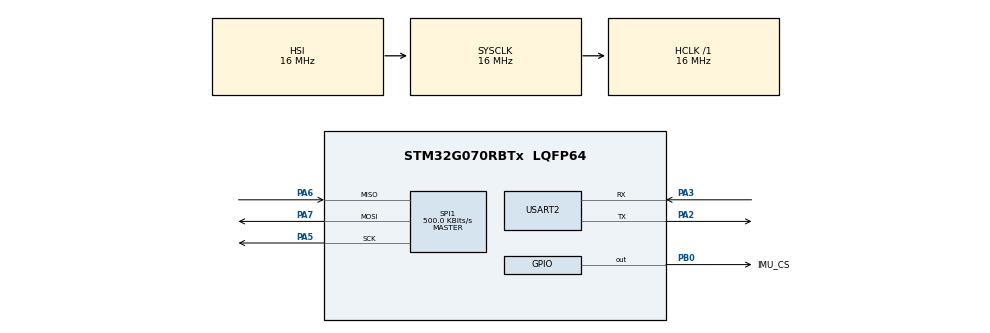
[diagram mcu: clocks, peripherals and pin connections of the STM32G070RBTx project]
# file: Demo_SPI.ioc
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Mcu.Family=STM32G0
Mcu.Name=STM32G070RBTx
Mcu.Package=LQFP64
PA13.GPIO_Label=TMS
PA13.Mode=Serial_Wire
PA13.Signal=SYS_SWDIO
PA14-BOOT0.GPIO_Label=TCK
PA14-BOOT0.Mode=Serial_Wire
PA14-BOOT0.Signal=SYS_SWCLK
PA2.GPIO_PuPd=GPIO_PULLUP
PA2.Mode=Asynchronous
PA2.Signal=USART2_TX
PA3.GPIO_PuPd=GPIO_PULLUP
PA3.Mode=Asynchronous
PA3.Signal=USART2_RX
PA5.Mode=Full_Duplex_Master
PA5.Signal=SPI1_SCK
PA6.Mode=Full_Duplex_Master
PA6.Signal=SPI1_MISO
PA7.Mode=Full_Duplex_Master
PA7.Signal=SPI1_MOSI
PB0.GPIO_Label=IMU_CS
PB0.PinState=GPIO_PIN_SET
PB0.Signal=GPIO_Output
PC13.Mode=SYS_WakeUp1
PC13.Signal=SYS_WKUP2
PC14-OSC32_IN\ (PC14).Signal=RCC_OSC32_IN
PC15-OSC32_OUT\ (PC15).Signal=RCC_OSC32_OUT
PF0-OSC_IN\ (PF0).GPIO_Label=MCO
PF0-OSC_IN\ (PF0).Signal=RCC_OSC_IN
ProjectManager.HeapSize=0x200
ProjectManager.StackSize=0x400
ProjectManager.TargetToolchain=CMake
RCC.AHBFreq_Value=16000000
RCC.CortexFreq_Value=16000000
RCC.EXTERNAL_CLOCK_VALUE=12288000
RCC.HCLKFreq_Value=16000000
RCC.HSE_VALUE=8000000
RCC.HSI_VALUE=16000000
RCC.SYSCLKFreq_VALUE=16000000
RCC.VCOOutputFreq_Value=128000000
SPI1.BaudRatePrescaler=SPI_BAUDRATEPRESCALER_32
SPI1.CalculateBaudRate=500.0 KBits/s
SPI1.DataSize=SPI_DATASIZE_8BIT
SPI1.Direction=SPI_DIRECTION_2LINES
SPI1.Mode=SPI_MODE_MASTER
SPI1.NSSPMode=SPI_NSS_PULSE_DISABLE
SPI1.VirtualType=VM_MASTER
USART2.VirtualMode-Asynchronous=VM_ASYNC
USART2.WordLength=WORDLENGTH_7B
board=NUCLEO-G070RB

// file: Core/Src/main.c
/* USER CODE BEGIN Header */
/**
  ******************************************************************************
  * @file           : main.c
  * @brief          : Main program body
  ******************************************************************************
  * @attention
  *
  * Copyright (c) 2026 STMicroelectronics.
  * All rights reserved.
  *
  * This software is licensed under terms that can be found in the LICENSE file
  * in the root directory of this software component.
  * If no LICENSE file comes with this software, it is provided AS-IS.
  *
  ******************************************************************************
  */
/* USER CODE END Header */
#include "main.h"

/* USER CODE BEGIN Includes */
#include <stdint.h>
/* USER CODE END Includes */

SPI_HandleTypeDef hspi1;

UART_HandleTypeDef huart2;

/* USER CODE BEGIN PV */

/* 最近一次成功传输得到的身份值 */
volatile uint8_t who_am_i = 0;

/* 最近一次 HAL 返回状态 */
volatile HAL_StatusTypeDef spi_status = HAL_OK;

/* 最近一次 SPI 错误码 */
volatile uint32_t spi_error_code = 0;

/* 各类结果计数 */
volatile uint32_t spi_ok_count = 0;
volatile uint32_t id_bad_count = 0;
volatile uint32_t spi_error_count = 0;

/*
 * 测试阶段：
 * 0：尚未开始
 * 1：准备选择 Bank 0
 * 2：选择 Bank 0 的发送操作完成，进入身份测试
 * 3：至少成功读到一次 0x3B
 * 4：最近一次读到的身份值不正确
 * 5：最近一次 HAL 操作失败
 */
volatile uint8_t test_stage = 0;

/* USER CODE END PV */

void SystemClock_Config(void);
static void MX_GPIO_Init(void);
static void MX_SPI1_Init(void);
static void MX_USART2_UART_Init(void);

/* USER CODE BEGIN 0 */

/* 选择 Bank 0：向 REG_BANK_SEL（0x76）写入 0x00 */
static HAL_StatusTypeDef ICM_SelectBank0(void)
{
    uint8_t tx[2] = {0x76, 0x00};

    HAL_GPIO_WritePin(IMU_CS_GPIO_Port,
                      IMU_CS_Pin,
                      GPIO_PIN_RESET);

    HAL_StatusTypeDef result =
        HAL_SPI_Transmit(&hspi1, tx, 2, 100);

    /* 无论成功或失败，都释放 CS */
    HAL_GPIO_WritePin(IMU_CS_GPIO_Port,
                      IMU_CS_Pin,
                      GPIO_PIN_SET);

    return result;
}

/* 读取 Bank 0 的 WHO_AM_I（0x75） */
static HAL_StatusTypeDef ICM_ReadWhoAmI(uint8_t *id)
{
    /*
     * 0xF5 = 0x75 | 0x80，表示读取地址 0x75
     * 0x00 是占位字节，用于产生后续 8 个时钟
     */
    uint8_t tx[2] = {0xF5, 0x00};
    uint8_t rx[2] = {0x00, 0x00};

    HAL_GPIO_WritePin(IMU_CS_GPIO_Port,
                      IMU_CS_Pin,
                      GPIO_PIN_RESET);

    HAL_StatusTypeDef result =
        HAL_SPI_TransmitReceive(&hspi1, tx, rx, 2, 100);

    HAL_GPIO_WritePin(IMU_CS_GPIO_Port,
                      IMU_CS_Pin,
                      GPIO_PIN_SET);

    if (result == HAL_OK)
    {
        /* rx[0] 丢弃，rx[1] 才是身份值 */
        *id = rx[1];
    }

    return result;
}

/* USER CODE END 0 */

int main(void)
{

  /* MCU Configuration--------------------------------------------------------*/

  /* Reset of all peripherals, Initializes the Flash interface and the Systick. */
  HAL_Init();

  /* Configure the system clock */
  SystemClock_Config();

  /* Initialize all configured peripherals */
  MX_GPIO_Init();
  MX_SPI1_Init();
  MX_USART2_UART_Init();
  /* USER CODE BEGIN 2 */

  /* 初始保持未选中 */
HAL_GPIO_WritePin(IMU_CS_GPIO_Port,
                  IMU_CS_Pin,
                  GPIO_PIN_SET);

/* 等待传感器上电稳定 */
HAL_Delay(100);

test_stage = 1;//准备选择bank0

spi_status = ICM_SelectBank0();

if (spi_status == HAL_OK)
{
    test_stage = 2;//选择bank0结束
}
else
{
    spi_error_code = HAL_SPI_GetError(&hspi1);
    ++spi_error_count;
    test_stage = 5;//最近一次 HAL 操作失败

    /*
     * 选择 Bank 0 的发送失败，停在这里等待检查。
     * 可在 HAL_Delay 这一行设置断点。
     */
    while (1)
    {
        HAL_Delay(100);
    }
}

  /* USER CODE END 2 */

  /* Infinite loop */
  /* USER CODE BEGIN WHILE */
  while (1)
  {
    uint8_t id = 0;

    spi_status = ICM_ReadWhoAmI(&id);

    if (spi_status == HAL_OK)
    {
        spi_error_code = HAL_SPI_ERROR_NONE;
        who_am_i = id;

        if (id == 0x3B)
        {
            ++spi_ok_count;
            test_stage = 3;
        }
        else
        {
            ++id_bad_count;
            test_stage = 4;
        }
    }
    else
    {
        spi_error_code = HAL_SPI_GetError(&hspi1);
        ++spi_error_count;
        test_stage = 5;
    }

    /* 每隔约 100 ms 读取一次 */
    HAL_Delay(100);

    /* USER CODE END WHILE */
  }
}

void SystemClock_Config(void)
{
  RCC_OscInitTypeDef RCC_OscInitStruct = {0};
  RCC_ClkInitTypeDef RCC_ClkInitStruct = {0};

  /** Configure the main internal regulator output voltage
  */
  HAL_PWREx_ControlVoltageScaling(PWR_REGULATOR_VOLTAGE_SCALE1);

  /** Initializes the RCC Oscillators according to the specified parameters
  * in the RCC_OscInitTypeDef structure.
  */
  RCC_OscInitStruct.OscillatorType = RCC_OSCILLATORTYPE_HSI;
  RCC_OscInitStruct.HSIState = RCC_HSI_ON;
  RCC_OscInitStruct.HSIDiv = RCC_HSI_DIV1;
  RCC_OscInitStruct.HSICalibrationValue = RCC_HSICALIBRATION_DEFAULT;
  RCC_OscInitStruct.PLL.PLLState = RCC_PLL_NONE;
  if (HAL_RCC_OscConfig(&RCC_OscInitStruct) != HAL_OK)
  {
    Error_Handler();
  }

  /** Initializes the CPU, AHB and APB buses clocks
  */
  RCC_ClkInitStruct.ClockType = RCC_CLOCKTYPE_HCLK|RCC_CLOCKTYPE_SYSCLK
                              |RCC_CLOCKTYPE_PCLK1;
  RCC_ClkInitStruct.SYSCLKSource = RCC_SYSCLKSOURCE_HSI;
  RCC_ClkInitStruct.AHBCLKDivider = RCC_SYSCLK_DIV1;
  RCC_ClkInitStruct.APB1CLKDivider = RCC_HCLK_DIV1;

  if (HAL_RCC_ClockConfig(&RCC_ClkInitStruct, FLASH_LATENCY_0) != HAL_OK)
  {
    Error_Handler();
  }
}

static void MX_SPI1_Init(void)
{

  /* SPI1 parameter configuration*/
  hspi1.Instance = SPI1;
  hspi1.Init.Mode = SPI_MODE_MASTER;
  hspi1.Init.Direction = SPI_DIRECTION_2LINES;
  hspi1.Init.DataSize = SPI_DATASIZE_8BIT;
  hspi1.Init.CLKPolarity = SPI_POLARITY_LOW;
  hspi1.Init.CLKPhase = SPI_PHASE_1EDGE;
  hspi1.Init.NSS = SPI_NSS_SOFT;
  hspi1.Init.BaudRatePrescaler = SPI_BAUDRATEPRESCALER_32;
  hspi1.Init.FirstBit = SPI_FIRSTBIT_MSB;
  hspi1.Init.TIMode = SPI_TIMODE_DISABLE;
  hspi1.Init.CRCCalculation = SPI_CRCCALCULATION_DISABLE;
  hspi1.Init.CRCPolynomial = 7;
  hspi1.Init.CRCLength = SPI_CRC_LENGTH_DATASIZE;
  hspi1.Init.NSSPMode = SPI_NSS_PULSE_DISABLE;
  if (HAL_SPI_Init(&hspi1) != HAL_OK)
  {
    Error_Handler();
  }

}

static void MX_USART2_UART_Init(void)
{

  huart2.Instance = USART2;
  huart2.Init.BaudRate = 115200;
  huart2.Init.WordLength = UART_WORDLENGTH_7B;
  huart2.Init.StopBits = UART_STOPBITS_1;
  huart2.Init.Parity = UART_PARITY_NONE;
  huart2.Init.Mode = UART_MODE_TX_RX;
  huart2.Init.HwFlowCtl = UART_HWCONTROL_NONE;
  huart2.Init.OverSampling = UART_OVERSAMPLING_16;
  huart2.Init.OneBitSampling = UART_ONE_BIT_SAMPLE_DISABLE;
  huart2.Init.ClockPrescaler = UART_PRESCALER_DIV1;
  huart2.AdvancedInit.AdvFeatureInit = UART_ADVFEATURE_NO_INIT;
  if (HAL_UART_Init(&huart2) != HAL_OK)
  {
    Error_Handler();
  }
  if (HAL_UARTEx_SetTxFifoThreshold(&huart2, UART_TXFIFO_THRESHOLD_1_8) != HAL_OK)
  {
    Error_Handler();
  }
  if (HAL_UARTEx_SetRxFifoThreshold(&huart2, UART_RXFIFO_THRESHOLD_1_8) != HAL_OK)
  {
    Error_Handler();
  }
  if (HAL_UARTEx_DisableFifoMode(&huart2) != HAL_OK)
  {
    Error_Handler();
  }

}

static void MX_GPIO_Init(void)
{
  GPIO_InitTypeDef GPIO_InitStruct = {0};

  /* GPIO Ports Clock Enable */
  __HAL_RCC_GPIOC_CLK_ENABLE();
  __HAL_RCC_GPIOF_CLK_ENABLE();
  __HAL_RCC_GPIOA_CLK_ENABLE();
  __HAL_RCC_GPIOB_CLK_ENABLE();

  /*Configure GPIO pin Output Level */
  HAL_GPIO_WritePin(IMU_CS_GPIO_Port, IMU_CS_Pin, GPIO_PIN_SET);

  /*Configure GPIO pin : IMU_CS_Pin */
  GPIO_InitStruct.Pin = IMU_CS_Pin;
  GPIO_InitStruct.Mode = GPIO_MODE_OUTPUT_PP;
  GPIO_InitStruct.Pull = GPIO_NOPULL;
  GPIO_InitStruct.Speed = GPIO_SPEED_FREQ_LOW;
  HAL_GPIO_Init(IMU_CS_GPIO_Port, &GPIO_InitStruct);

}

void Error_Handler(void)
{
  __disable_irq();
  while (1)
  {
  }
}
